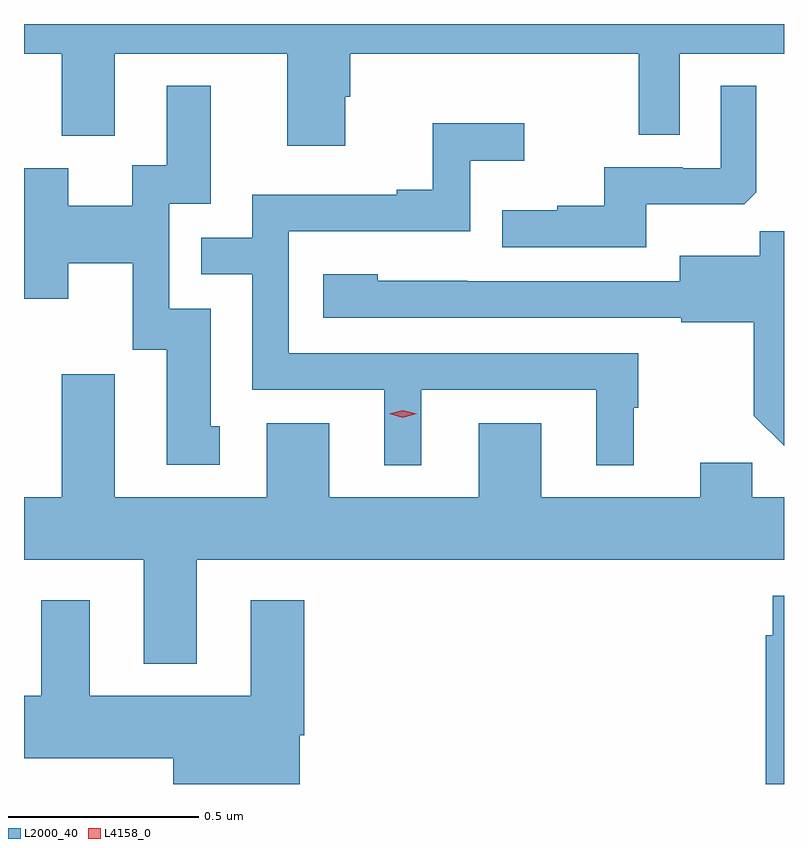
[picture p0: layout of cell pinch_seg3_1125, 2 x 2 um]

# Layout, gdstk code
import gdstk
lib = gdstk.Library(unit=1e-6, precision=1e-09)
def P(c, l, *ps):  # polygons
    for p in ps: c.add(gdstk.Polygon(p, *l))
L2000_40 = (2000, 40)
L4158_0 = (4158, 0)

pinch_seg3_1125 = lib.new_cell('pinch_seg3_1125')
P(pinch_seg3_1125, L2000_40, [(358.483,691.479),(358.496,691.479),(358.496,691.592),(359.256,691.592),(359.256,691.378),(359.364,691.378),(359.364,691.592),(359.638,691.592),(359.638,691.67),(357.638,691.67),(357.638,691.592),(357.737,691.592),(357.737,691.376),(357.877,691.376),(357.877,691.592),(358.331,691.592),(358.331,691.35),(358.483,691.35)],
  [(358.153,690.612),(358.129,690.612),(358.129,690.921),(358.02,690.921),(358.02,691.197),(358.129,691.197),(358.129,691.507),(358.013,691.507),(358.013,691.298),(357.923,691.298),(357.923,691.192),(357.754,691.192),(357.754,691.291),(357.638,691.291),(357.638,690.947),(357.754,690.947),(357.754,691.04),(357.924,691.04),(357.924,690.813),(358.013,690.813),(358.013,690.51),(358.153,690.51)],
  [(359.275,691.196),(359.533,691.196),(359.565,691.227),(359.565,691.507),(359.472,691.507),(359.472,691.29),(359.372,691.29),(359.372,691.293),(359.165,691.293),(359.165,691.192),(359.041,691.192),(359.041,691.18),(358.897,691.18),(358.897,691.083),(359.275,691.083)],
  [(358.684,690.708),(359.144,690.708),(359.144,690.509),(359.242,690.509),(359.242,690.66),(359.254,690.66),(359.254,690.804),(358.335,690.804),(358.335,691.125),(358.812,691.125),(358.812,691.31),(358.954,691.31),(358.954,691.409),(358.714,691.409),(358.714,691.234),(358.619,691.234),(358.619,691.221),(358.239,691.221),(358.239,691.107),(358.105,691.107),(358.105,691.011),(358.239,691.011),(358.239,690.708),(358.586,690.708),(358.586,690.509),(358.684,690.509)],
  [(359.638,691.124),(359.574,691.124),(359.574,691.06),(359.363,691.06),(359.363,690.993),(358.805,690.993),(358.805,690.994),(358.569,690.994),(358.569,691.012),(358.425,691.012),(358.425,690.897),(359.367,690.897),(359.367,690.885),(359.559,690.885),(359.559,690.639),(359.638,690.56)],
  [(358.093,690.26),(359.638,690.26),(359.638,690.424),(359.555,690.424),(359.555,690.515),(359.417,690.515),(359.417,690.424),(358.999,690.424),(358.999,690.619),(358.835,690.619),(358.835,690.424),(358.441,690.424),(358.441,690.619),(358.277,690.619),(358.277,690.424),(357.877,690.424),(357.877,690.748),(357.737,690.748),(357.737,690.424),(357.638,690.424),(357.638,690.26),(357.953,690.26),(357.953,689.987),(358.093,689.987)],
  [(359.638,690.166),(359.609,690.166),(359.609,690.062),(359.59,690.062),(359.59,689.67),(359.638,689.67)],
  [(358.363,689.798),(358.376,689.798),(358.376,690.154),(358.235,690.154),(358.235,689.902),(357.811,689.902),(357.811,690.154),(357.683,690.154),(357.683,689.902),(357.638,689.902),(357.638,689.738),(358.031,689.738),(358.031,689.67),(358.363,689.67)])
P(pinch_seg3_1125, L4158_0, [(358.635,690.634),(358.599,690.644),(358.599,690.644),(358.599,690.644),(358.635,690.654),(358.671,690.644),(358.671,690.644),(358.671,690.644)])

lib.write_gds('pinch_seg3_1125.gds')
